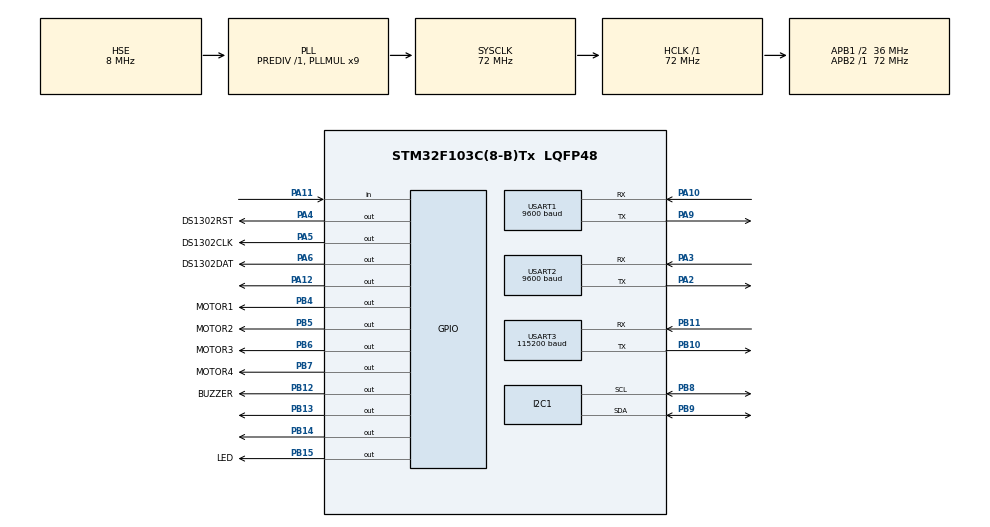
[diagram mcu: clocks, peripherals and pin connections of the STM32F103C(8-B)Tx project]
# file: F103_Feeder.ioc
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Mcu.Family=STM32F1
Mcu.Name=STM32F103C(8-B)Tx
Mcu.Package=LQFP48
NVIC.PriorityGroup=NVIC_PRIORITYGROUP_4
NVIC.TIM3_IRQn=true\:0\:0\:false\:false\:true\:true\:true\:true
NVIC.USART1_IRQn=true\:0\:0\:false\:false\:true\:true\:true\:true
NVIC.USART2_IRQn=true\:0\:0\:false\:false\:true\:true\:true\:true
NVIC.USART3_IRQn=true\:0\:0\:false\:false\:true\:true\:true\:true
PA10.Mode=Asynchronous
PA10.Signal=USART1_RX
PA11.Signal=GPIO_Input
PA12.Signal=GPIO_Output
PA13.Mode=Serial_Wire
PA13.Signal=SYS_JTMS-SWDIO
PA14.Mode=Serial_Wire
PA14.Signal=SYS_JTCK-SWCLK
PA2.Mode=Asynchronous
PA2.Signal=USART2_TX
PA3.Mode=Asynchronous
PA3.Signal=USART2_RX
PA4.GPIO_Label=DS1302RST
PA4.GPIO_Speed=GPIO_SPEED_FREQ_HIGH
PA4.Signal=GPIO_Output
PA5.GPIO_Label=DS1302CLK
PA5.GPIO_Speed=GPIO_SPEED_FREQ_HIGH
PA5.Signal=GPIO_Output
PA6.GPIO_Label=DS1302DAT
PA6.GPIO_Speed=GPIO_SPEED_FREQ_HIGH
PA6.Signal=GPIO_Output
PA9.Mode=Asynchronous
PA9.Signal=USART1_TX
PB10.Mode=Asynchronous
PB10.Signal=USART3_TX
PB11.Mode=Asynchronous
PB11.Signal=USART3_RX
PB12.GPIO_Label=BUZZER
PB12.Signal=GPIO_Output
PB13.GPIO_ModeDefaultOutputPP=GPIO_MODE_OUTPUT_OD
PB13.GPIO_PuPd=GPIO_NOPULL
PB13.Signal=GPIO_Output
PB14.GPIO_ModeDefaultOutputPP=GPIO_MODE_OUTPUT_OD
PB14.GPIO_PuPd=GPIO_NOPULL
PB14.PinState=GPIO_PIN_RESET
PB14.Signal=GPIO_Output
PB15.GPIO_Label=LED
PB15.Signal=GPIO_Output
PB4.GPIO_Label=MOTOR1
PB4.Signal=GPIO_Output
PB5.GPIO_Label=MOTOR2
PB5.Signal=GPIO_Output
PB6.GPIO_Label=MOTOR3
PB6.Signal=GPIO_Output
PB7.GPIO_Label=MOTOR4
PB7.Signal=GPIO_Output
PB8.Mode=I2C
PB8.Signal=I2C1_SCL
PB9.Mode=I2C
PB9.Signal=I2C1_SDA
PC14-OSC32_IN.Mode=LSE-External-Oscillator
PC14-OSC32_IN.Signal=RCC_OSC32_IN
PC15-OSC32_OUT.Mode=LSE-External-Oscillator
PC15-OSC32_OUT.Signal=RCC_OSC32_OUT
PD0-OSC_IN.Mode=HSE-External-Oscillator
PD0-OSC_IN.Signal=RCC_OSC_IN
PD1-OSC_OUT.Mode=HSE-External-Oscillator
PD1-OSC_OUT.Signal=RCC_OSC_OUT
ProjectManager.HeapSize=0x200
ProjectManager.StackSize=0x400
ProjectManager.TargetToolchain=MDK-ARM V5.32
RCC.AHBFreq_Value=72000000
RCC.APB1CLKDivider=RCC_HCLK_DIV2
RCC.APB1Freq_Value=36000000
RCC.APB1TimFreq_Value=72000000
RCC.APB2Freq_Value=72000000
RCC.APB2TimFreq_Value=72000000
RCC.HCLKFreq_Value=72000000
RCC.PLLMUL=RCC_PLL_MUL9
RCC.PLLSourceVirtual=RCC_PLLSOURCE_HSE
RCC.SYSCLKFreq_VALUE=72000000
RCC.SYSCLKSource=RCC_SYSCLKSOURCE_PLLCLK
RCC.USBFreq_Value=72000000
TIM3.AutoReloadPreload=TIM_AUTORELOAD_PRELOAD_ENABLE
TIM3.Period=1000-1
TIM3.Prescaler=71
USART1.BaudRate=9600
USART1.VirtualMode=VM_ASYNC
USART2.BaudRate=9600
USART2.VirtualMode=VM_ASYNC
USART3.BaudRate=115200
USART3.VirtualMode=VM_ASYNC
VP_TIM3_VS_ClockSourceINT.Mode=Internal
board=custom

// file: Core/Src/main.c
/* USER CODE BEGIN Header */
/**
 ******************************************************************************
 * @file           : main.c
 * @brief          : Main program body
 ******************************************************************************
 */
/* USER CODE END Header */
#include "main.h"
#include "i2c.h"
#include "tim.h"
#include "usart.h"
#include "gpio.h"

/* USER CODE BEGIN Includes */
#include "OLED.h"
#include "OLED_Menu.h"
#include "aht20.h"
#include "ds1302.h"
#include <stdio.h>
#include "buzzer.h"
#include "stepper_motor.h"
#include "HX711.h"
#include <string.h>
#include "ESP01S.h"
#include "SystemLog.h"
#include "schedule.h"
#include "maixcam.h"
/* USER CODE END Includes */

/* USER CODE BEGIN PV */
// ==========================================================
// 【串口1】：电脑调试专用接收缓存
// ==========================================================
uint8_t debug_rx_char;
/* USER CODE END PV */

void SystemClock_Config(void);
/* USER CODE BEGIN PFP */
// 声明一个函数，用于处理从云平台收到的指令
extern void ESP_Handle_Recv_Data(char *recv_str);
/* USER CODE END PFP */

/* USER CODE BEGIN 0 */

// ==========================================================
// 【传感器全局变量】
// ==========================================================
float temp = 0.0f;
float humi = 0.0f;
long weight = 0;

// ==========================================================
// 【串口3】：ESP01S WiFi 专用接收缓冲
// ==========================================================
uint8_t wifi_rx_char;
char wifi_rx_buffer[256];
uint16_t wifi_rx_index = 0;
uint8_t wifi_rx_flag = 0;

// ==========================================================
// 【时间调度变量】
// ==========================================================
uint32_t last_mid_task = 0;
uint32_t last_upload_time = 0;

/* USER CODE END 0 */

int main(void)
{

  /* MCU Configuration--------------------------------------------------------*/

  /* Reset of all peripherals, Initializes the Flash interface and the Systick. */
  HAL_Init();

  /* Configure the system clock */
  SystemClock_Config();

  /* Initialize all configured peripherals */
  MX_GPIO_Init();
  MX_USART1_UART_Init();
  MX_USART2_UART_Init();
  MX_TIM3_Init();
  MX_I2C1_Init();
  MX_USART3_UART_Init();

  /* USER CODE BEGIN 2 */
  APP_LOG("SYS", "Board power on...");

  // 初始化外设
  OLED_Menu_Init();
  AHT20_Init();
  DS1302_Init();
  //DS1302_SetTime(26, 4, 11, 17, 30, 10);
  Schedule_Init();
  Buzzer_Init();
  StepperMotor_Init();

  // 开启串口1 (调试) 和 串口3 (WiFi) 的初始接收中断
  HAL_UART_Receive_IT(&huart1, &debug_rx_char, 1);
  HAL_UART_Receive_IT(&huart3, &wifi_rx_char, 1);

  APP_LOG("WEIGHT", "HX711 peeling start...");
  HX711_Init();

  APP_LOG("WIFI", "Connecting to OneNET...");
  ESP_Init();
  HAL_Delay(3000);

  // 开启串口2 (摄像头) 的初始接收中断
  APP_LOG("SYS", "Starting MaixCam UART...");
  // 开启前，先暴力清空一下刚才死等期间摄像头强塞进来的垃圾数据
  __HAL_UART_CLEAR_OREFLAG(&huart2);
  // 开启串口2 (摄像头)
  Maixcam_Init();

  APP_LOG("SYS", "--- Ready ---");
  /* USER CODE END 2 */

  /* Infinite loop */
  /* USER CODE BEGIN WHILE */
  while (1)
  {
    // 运行 MaixCam 视觉底层流转
    Maixcam_Run();

    uint32_t now = HAL_GetTick();

    // --------------------------------------------------------
    // 【1秒任务】：刷新屏幕、读时间、称重、检查喂食计划
    // --------------------------------------------------------
    if (now - last_mid_task >= 1000)
    {
      last_mid_task = now;

      DS1302_ReadAndPrintTime();
      weight = HX711_Get_Weight();

      uint8_t current_h = DS1302_GetHour();
      uint8_t current_m = DS1302_GetMinute();
      uint8_t current_s = DS1302_GetSecond();

      Schedule_CheckAndFeed(current_h, current_m);
      OLED_Show_Home(current_h, current_m, current_s, weight);
    }

    // --------------------------------------------------------
    // 【5秒任务】：读取温湿度、上传心跳数据 (防卡死隔离)
    // --------------------------------------------------------
    if (now - last_upload_time >= 5000)
    {
      last_upload_time = now;
      AHT20_Read(&temp, &humi);
      ESP_Publish_AllData(temp, humi, weight);
    }

    // --------------------------------------------------------
    // 【网络命令处理】：解析 WiFi 传来的完整数据包
    // --------------------------------------------------------
    if (wifi_rx_flag == 1)
    {
      ESP_Handle_Recv_Data(wifi_rx_buffer);
      // 处理完毕后，清空 WiFi 缓冲区
      memset(wifi_rx_buffer, 0, sizeof(wifi_rx_buffer));
      wifi_rx_index = 0;
      wifi_rx_flag = 0;
    }

    // ==========================================================
    // 🛡️ 【状态巡逻兵】：终极防死锁，保证摄像头数据永远能收进来
    // ==========================================================
    if (huart2.RxState != HAL_UART_STATE_READY && huart2.RxState != HAL_UART_STATE_BUSY_RX)
    {
      __HAL_UNLOCK(&huart2);
      huart2.RxState = HAL_UART_STATE_READY;
      HAL_UART_Receive_IT(Maixcam_GetUARTHandle(), Maixcam_GetRxCharPtr(), 1);
      APP_LOG("WARN", "USART2 RxState unlocked!");
    }

    // 加一点点呼吸延时，防止死循环跑满 CPU 导致中断进不去
    HAL_Delay(10);

    /* USER CODE END WHILE */

  }
}

void SystemClock_Config(void)
{
  RCC_OscInitTypeDef RCC_OscInitStruct = {0};
  RCC_ClkInitTypeDef RCC_ClkInitStruct = {0};

  RCC_OscInitStruct.OscillatorType = RCC_OSCILLATORTYPE_HSE;
  RCC_OscInitStruct.HSEState = RCC_HSE_ON;
  RCC_OscInitStruct.HSEPredivValue = RCC_HSE_PREDIV_DIV1;
  RCC_OscInitStruct.HSIState = RCC_HSI_ON;
  RCC_OscInitStruct.PLL.PLLState = RCC_PLL_ON;
  RCC_OscInitStruct.PLL.PLLSource = RCC_PLLSOURCE_HSE;
  RCC_OscInitStruct.PLL.PLLMUL = RCC_PLL_MUL9;
  if (HAL_RCC_OscConfig(&RCC_OscInitStruct) != HAL_OK)
  {
    Error_Handler();
  }

  RCC_ClkInitStruct.ClockType = RCC_CLOCKTYPE_HCLK | RCC_CLOCKTYPE_SYSCLK | RCC_CLOCKTYPE_PCLK1 | RCC_CLOCKTYPE_PCLK2;
  RCC_ClkInitStruct.SYSCLKSource = RCC_SYSCLKSOURCE_PLLCLK;
  RCC_ClkInitStruct.AHBCLKDivider = RCC_SYSCLK_DIV1;
  RCC_ClkInitStruct.APB1CLKDivider = RCC_HCLK_DIV2;
  RCC_ClkInitStruct.APB2CLKDivider = RCC_HCLK_DIV1;

  if (HAL_RCC_ClockConfig(&RCC_ClkInitStruct, FLASH_LATENCY_2) != HAL_OK)
  {
    Error_Handler();
  }
}

/* USER CODE BEGIN 4 */

// ==========================================================
// 【正常接收数据】：绝对不在这里处理错误！
// ==========================================================
void HAL_UART_RxCpltCallback(UART_HandleTypeDef *huart)
{
  // 1. 调试串口 (USART1)
  if (huart->Instance == USART1)
  {
    HAL_UART_Receive_IT(&huart1, &debug_rx_char, 1);
  }

  // 2. WiFi 串口 (USART3)
  else if (huart->Instance == USART3)
  {
    if (wifi_rx_char == '\r' || wifi_rx_char == '\n')
    {
      wifi_rx_buffer[wifi_rx_index] = '\0';
      wifi_rx_flag = 1; // 标记一句话接收完成
    }
    else
    {
      if (wifi_rx_index < 250)
      { // 加上边界保护，防越界崩溃
        wifi_rx_buffer[wifi_rx_index] = wifi_rx_char;
        wifi_rx_index++;
      }
    }
    HAL_UART_Receive_IT(&huart3, &wifi_rx_char, 1);
  }

  // 3. 摄像头串口 (USART2)
  else if (huart->Instance == USART2)
  {
    // 摄像头的正常接收逻辑：只管接，只管塞给解析器，然后极速重启接收
    uint8_t recv_ch = *Maixcam_GetRxCharPtr();
    Maixcam_UART_IRQHandler(recv_ch);
    HAL_UART_Receive_IT(Maixcam_GetUARTHandle(), Maixcam_GetRxCharPtr(), 1);
  }
}

// ==========================================================
// 【错误抢救中心】：只有发生溢出锁死时，才会进这里
// ==========================================================
void HAL_UART_ErrorCallback(UART_HandleTypeDef *huart)
{
  if (huart->Instance == USART2)
  {
    // 暴力清空错误
    __HAL_UART_CLEAR_OREFLAG(huart);
    __HAL_UART_CLEAR_NEFLAG(huart);
    __HAL_UART_CLEAR_FEFLAG(huart);
    __HAL_UART_CLEAR_PEFLAG(huart);

    // 强行重启接收中断
    HAL_UART_Receive_IT(Maixcam_GetUARTHandle(), Maixcam_GetRxCharPtr(), 1);

    // 打印 WARN 提示
    APP_LOG("WARN", "USART2 ORE Auto-Recovered!");
  }
}

/* USER CODE END 4 */

void Error_Handler(void)
{
  __disable_irq();
  while (1)
  {
  }
}
